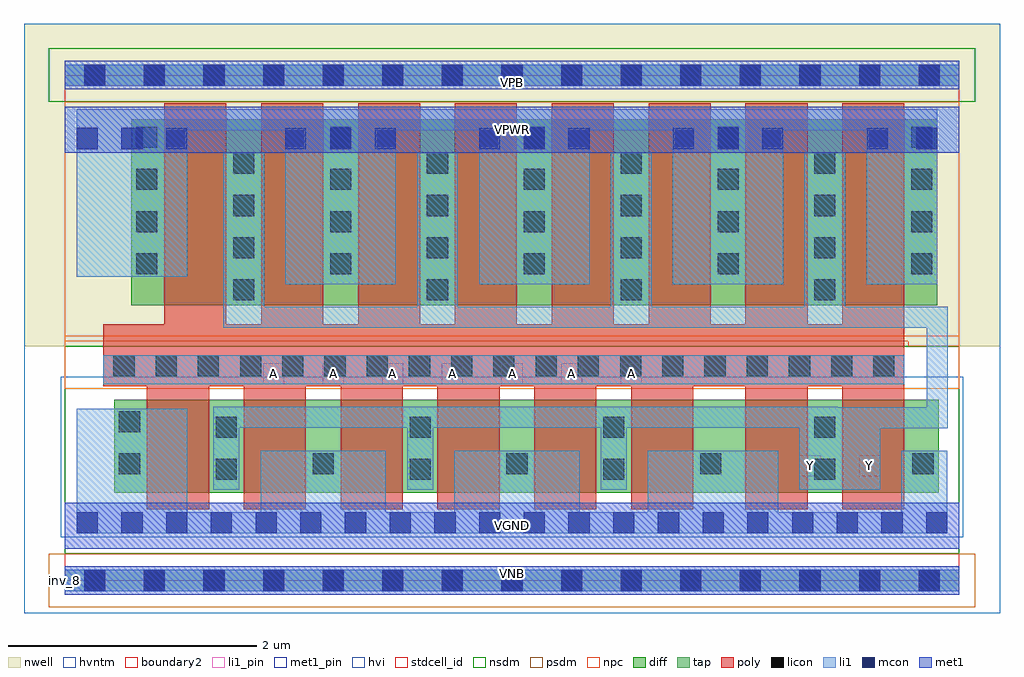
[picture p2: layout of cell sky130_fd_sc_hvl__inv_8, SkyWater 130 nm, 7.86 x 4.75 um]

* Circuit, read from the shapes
.subckt sky130_fd_sc_hvl__inv_8 A VGND VNB VPB VPWR Y
XM1 Y A VGND VNB sky130_fd_pr__nfet_g5v0d10v5 w=0.75 l=0.5 m=8
XM2 Y A VPWR VPB sky130_fd_pr__pfet_g5v0d10v5 w=1.5 l=0.5 m=8
.ends

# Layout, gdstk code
import gdstk
lib = gdstk.Library(unit=1e-6, precision=1e-09)
def R(c, l, rs):  # rectangles x0, y0, x1, y1
    for r in rs: c.add(gdstk.rectangle(r[:2], r[2:], *l))
def A(c, l, x, y, w, h, nx, ny, dx, dy):  # array of equal rectangles
    R(c, l, [(x+i*dx, y+j*dy, x+i*dx+w, y+j*dy+h) for i in range(nx) for j in range(ny)])
def P(c, l, *ps):  # polygons
    for p in ps: c.add(gdstk.Polygon(p, *l))
nwell = (64, 20)
diff = (65, 20)
tap = (65, 44)
poly = (66, 20)
licon = (66, 44)
li1_pin = (67, 16)
li1 = (67, 20)
mcon = (67, 44)
met1_pin = (68, 16)
met1 = (68, 20)
hvi = (75, 20)
stdcell_id = (81, 4)
nsdm = (93, 44)
psdm = (94, 20)
npc = (95, 20)
hvntm = (125, 20)
boundary2 = (236, 0)

sky130_fd_sc_hvl__inv_8 = lib.new_cell('sky130_fd_sc_hvl__inv_8')
R(sky130_fd_sc_hvl__inv_8, nwell, [(-0.33,1.885,7.53,4.485)])
R(sky130_fd_sc_hvl__inv_8, diff, [(0.395,0.705,7.035,1.455), (0.535,2.215,7.025,3.715)])
R(sky130_fd_sc_hvl__inv_8, tap, [(0,-0.085,7.2,0.085), (0,3.985,7.2,4.155)])
P(sky130_fd_sc_hvl__inv_8, poly, [(6.76,3.845),(6.26,3.845),(6.26,2.065),(5.98,2.065),(5.98,3.845),(5.48,3.845),(5.48,2.065),(5.2,2.065),(5.2,3.845),(4.7,3.845),(4.7,2.065),(4.42,2.065),(4.42,3.845),(3.92,3.845),(3.92,2.065),(3.64,2.065),(3.64,3.845),(3.14,3.845),(3.14,2.065),(2.86,2.065),(2.86,3.845),(2.36,3.845),(2.36,2.065),(2.08,2.065),(2.08,3.845),(1.58,3.845),(1.58,2.065),(1.3,2.065),(1.3,3.845),(0.8,3.845),(0.8,2.065),(0.31,2.065),(0.31,1.565),(0.66,1.565),(0.66,0.575),(1.16,0.575),(1.16,1.565),(1.44,1.565),(1.44,0.575),(1.94,0.575),(1.94,1.565),(2.22,1.565),(2.22,0.575),(2.72,0.575),(2.72,1.565),(3,1.565),(3,0.575),(3.5,0.575),(3.5,1.565),(3.78,1.565),(3.78,0.575),(4.28,0.575),(4.28,1.565),(4.56,1.565),(4.56,0.575),(5.06,0.575),(5.06,1.565),(5.48,1.565),(5.48,0.575),(5.98,0.575),(5.98,1.565),(6.26,1.565),(6.26,0.575),(6.76,0.575)])
A(sky130_fd_sc_hvl__inv_8, licon, 0.155, -0.085, 0.17, 0.17, 15, 2, 0.48, 4.07)
A(sky130_fd_sc_hvl__inv_8, licon, 1.215, 0.81, 0.17, 0.17, 3, 2, 1.56, 0.34)
A(sky130_fd_sc_hvl__inv_8, licon, 0.435, 0.855, 0.17, 0.17, 4, 1, 1.56, 0)
A(sky130_fd_sc_hvl__inv_8, licon, 0.39, 1.645, 0.17, 0.17, 19, 1, 0.34, 0)
A(sky130_fd_sc_hvl__inv_8, licon, 1.355, 2.255, 0.17, 0.17, 4, 4, 1.56, 0.34)
A(sky130_fd_sc_hvl__inv_8, licon, 0.575, 2.465, 0.17, 0.17, 5, 4, 1.56, 0.34)
R(sky130_fd_sc_hvl__inv_8, licon, [(6.035,0.81,6.205,0.98), (6.825,0.855,6.995,1.025), (6.035,1.15,6.205,1.32), (0.435,1.195,0.605,1.365)])
A(sky130_fd_sc_hvl__inv_8, li1_pin, 1.595, 1.58, 0.17, 0.17, 7, 1, 0.48, 0)
R(sky130_fd_sc_hvl__inv_8, li1_pin, [(5.915,0.84,6.085,1.01), (6.395,0.84,6.565,1.01)])
R(sky130_fd_sc_hvl__inv_8, li1, [(0,-0.085,7.2,0.085), (0.31,1.58,6.76,1.815), (0,3.985,7.2,4.155)])
P(sky130_fd_sc_hvl__inv_8, li1, [(7.025,3.795),(0.095,3.795),(0.095,2.445),(0.985,2.445),(0.985,3.625),(1.775,3.625),(1.775,2.385),(2.665,2.385),(2.665,3.625),(3.335,3.625),(3.335,2.385),(4.225,2.385),(4.225,3.625),(4.895,3.625),(4.895,2.385),(5.785,2.385),(5.785,3.625),(6.455,3.625),(6.455,2.385),(7.025,2.385)],
  [(7.105,1.045),(6.735,1.045),(6.735,0.55),(5.745,0.55),(5.745,1.045),(4.695,1.045),(4.695,0.55),(4.145,0.55),(4.145,1.045),(3.135,1.045),(3.135,0.55),(2.585,0.55),(2.585,1.045),(1.575,1.045),(1.575,0.55),(0.985,0.55),(0.985,1.385),(0.095,1.385),(0.095,0.38),(7.105,0.38)],
  [(7.11,2.205),(6.285,2.205),(6.285,3.445),(5.955,3.445),(5.955,2.205),(4.725,2.205),(4.725,3.445),(4.395,3.445),(4.395,2.205),(3.165,2.205),(3.165,3.445),(2.835,3.445),(2.835,2.205),(1.605,2.205),(1.605,3.445),(1.275,3.445),(1.275,2.035),(6.94,2.035),(6.94,1.395),(6.225,1.395),(6.225,1.4),(1.195,1.4),(1.195,0.73),(1.405,0.73),(1.405,1.23),(2.755,1.23),(2.755,0.73),(2.965,0.73),(2.965,1.23),(4.315,1.23),(4.315,0.73),(4.525,0.73),(4.525,1.23),(5.915,1.23),(5.915,0.73),(6.565,0.73),(6.565,1.225),(7.11,1.225)])
A(sky130_fd_sc_hvl__inv_8, mcon, 0.095, 0.38, 0.17, 0.17, 20, 1, 0.36, 0)
A(sky130_fd_sc_hvl__inv_8, mcon, 0.095, 3.475, 0.17, 0.17, 3, 1, 0.36, 0)
A(sky130_fd_sc_hvl__inv_8, mcon, 1.775, 3.475, 0.17, 0.17, 3, 1, 0.36, 0)
A(sky130_fd_sc_hvl__inv_8, mcon, 3.335, 3.475, 0.17, 0.17, 3, 1, 0.36, 0)
A(sky130_fd_sc_hvl__inv_8, mcon, 4.895, 3.475, 0.17, 0.17, 3, 1, 0.36, 0)
R(sky130_fd_sc_hvl__inv_8, mcon, [(0.155,-0.085,0.325,0.085), (0.155,-0.085,0.325,0.085), (0.635,-0.085,0.805,0.085), (0.635,-0.085,0.805,0.085), (1.115,-0.085,1.285,0.085), (1.115,-0.085,1.285,0.085), (1.595,-0.085,1.765,0.085), (1.595,-0.085,1.765,0.085), (2.075,-0.085,2.245,0.085), (2.075,-0.085,2.245,0.085), (2.555,-0.085,2.725,0.085), (2.555,-0.085,2.725,0.085), (3.035,-0.085,3.205,0.085), (3.035,-0.085,3.205,0.085), (3.515,-0.085,3.685,0.085), (3.515,-0.085,3.685,0.085), (3.995,-0.085,4.165,0.085), (3.995,-0.085,4.165,0.085), (4.475,-0.085,4.645,0.085), (4.475,-0.085,4.645,0.085), (4.955,-0.085,5.125,0.085), (4.955,-0.085,5.125,0.085), (5.435,-0.085,5.605,0.085), (5.435,-0.085,5.605,0.085), (5.915,-0.085,6.085,0.085), (5.915,-0.085,6.085,0.085), (6.395,-0.085,6.565,0.085), (6.395,-0.085,6.565,0.085), (6.875,-0.085,7.045,0.085), (6.875,-0.085,7.045,0.085), (6.455,3.475,6.625,3.645), (6.855,3.475,7.025,3.645), (0.155,3.985,0.325,4.155), (0.155,3.985,0.325,4.155), (0.635,3.985,0.805,4.155), (0.635,3.985,0.805,4.155), (1.115,3.985,1.285,4.155), (1.115,3.985,1.285,4.155), (1.595,3.985,1.765,4.155), (1.595,3.985,1.765,4.155), (2.075,3.985,2.245,4.155), (2.075,3.985,2.245,4.155), (2.555,3.985,2.725,4.155), (2.555,3.985,2.725,4.155), (3.035,3.985,3.205,4.155), (3.035,3.985,3.205,4.155), (3.515,3.985,3.685,4.155), (3.515,3.985,3.685,4.155), (3.995,3.985,4.165,4.155), (3.995,3.985,4.165,4.155), (4.475,3.985,4.645,4.155), (4.475,3.985,4.645,4.155), (4.955,3.985,5.125,4.155), (4.955,3.985,5.125,4.155), (5.435,3.985,5.605,4.155), (5.435,3.985,5.605,4.155), (5.915,3.985,6.085,4.155), (5.915,3.985,6.085,4.155), (6.395,3.985,6.565,4.155), (6.395,3.985,6.565,4.155), (6.875,3.985,7.045,4.155), (6.875,3.985,7.045,4.155)])
R(sky130_fd_sc_hvl__inv_8, met1_pin, [(0,0,7.2,0.115), (0,0,7.2,0.115), (0,0.255,7.2,0.625), (0,3.445,7.2,3.815), (0,3.955,7.2,4.07), (0,3.955,7.2,4.07)])
R(sky130_fd_sc_hvl__inv_8, met1, [(0,-0.115,7.2,0.115), (0,0.255,7.2,0.625), (0,3.445,7.2,3.815), (0,3.955,7.2,4.185)])
R(sky130_fd_sc_hvl__inv_8, hvi, [(-0.33,-0.265,7.53,4.485)])
R(sky130_fd_sc_hvl__inv_8, stdcell_id, [(0,0,7.2,4.07)])
R(sky130_fd_sc_hvl__inv_8, nsdm, [(0,0.215,7.2,1.885), (-0.13,3.855,7.33,4.285), (0,3.855,7.2,4.07)])
R(sky130_fd_sc_hvl__inv_8, psdm, [(-0.13,-0.215,7.33,0.215)])
P(sky130_fd_sc_hvl__inv_8, psdm, [(7.2,3.855),(0,3.855),(0,1.925),(6.79,1.925),(6.79,1.885),(7.2,1.885)])
R(sky130_fd_sc_hvl__inv_8, npc, [(0,1.545,7.2,1.97)])
R(sky130_fd_sc_hvl__inv_8, hvntm, [(-0.035,0.35,7.235,1.64)])
R(sky130_fd_sc_hvl__inv_8, boundary2, [(0,0,7.2,4.07)])
sky130_fd_sc_hvl__inv_8.add(gdstk.Label('inv_8', (0,0), layer=83, texttype=44))
sky130_fd_sc_hvl__inv_8.add(gdstk.Label('VNB', (3.6,0.058), layer=68, texttype=5))
sky130_fd_sc_hvl__inv_8.add(gdstk.Label('VGND', (3.6,0.44), layer=68, texttype=5))
sky130_fd_sc_hvl__inv_8.add(gdstk.Label('VNB', (3.6,0.058), layer=68, texttype=5))
sky130_fd_sc_hvl__inv_8.add(gdstk.Label('VPWR', (3.6,3.63), layer=68, texttype=5))
sky130_fd_sc_hvl__inv_8.add(gdstk.Label('VPB', (3.6,4.013), layer=68, texttype=5))
sky130_fd_sc_hvl__inv_8.add(gdstk.Label('VPB', (3.6,4.013), layer=68, texttype=5))
sky130_fd_sc_hvl__inv_8.add(gdstk.Label('Y', (6,0.925), layer=67, texttype=5))
sky130_fd_sc_hvl__inv_8.add(gdstk.Label('Y', (6.48,0.925), layer=67, texttype=5))
sky130_fd_sc_hvl__inv_8.add(gdstk.Label('A', (1.68,1.665), layer=67, texttype=5))
sky130_fd_sc_hvl__inv_8.add(gdstk.Label('A', (2.16,1.665), layer=67, texttype=5))
sky130_fd_sc_hvl__inv_8.add(gdstk.Label('A', (2.64,1.665), layer=67, texttype=5))
sky130_fd_sc_hvl__inv_8.add(gdstk.Label('A', (3.12,1.665), layer=67, texttype=5))
sky130_fd_sc_hvl__inv_8.add(gdstk.Label('A', (3.6,1.665), layer=67, texttype=5))
sky130_fd_sc_hvl__inv_8.add(gdstk.Label('A', (4.08,1.665), layer=67, texttype=5))
sky130_fd_sc_hvl__inv_8.add(gdstk.Label('A', (4.56,1.665), layer=67, texttype=5))

lib.write_gds('sky130_fd_sc_hvl__inv_8.gds')
